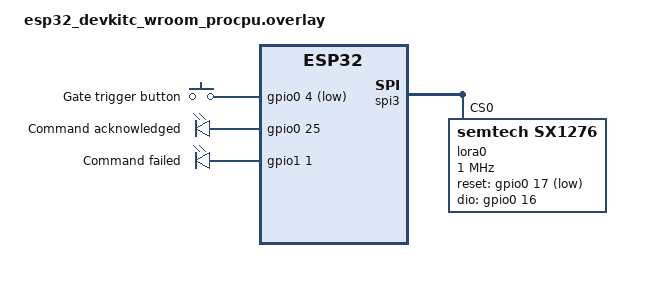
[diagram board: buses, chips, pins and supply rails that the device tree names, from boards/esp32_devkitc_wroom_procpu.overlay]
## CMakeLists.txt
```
# Copyright (c) 2026 Vinicius Pedrosa
# SPDX-License-Identifier: MIT OR Apache-2.0

cmake_minimum_required(VERSION 3.20.0)

set(GATE_LINK_ROOT ${CMAKE_CURRENT_LIST_DIR}/../..)

find_package(Zephyr REQUIRED HINTS $ENV{ZEPHYR_BASE})
project(gate_link_transmitter)

add_subdirectory(${GATE_LINK_ROOT}/common common)

target_sources(app PRIVATE src/main.c)
```

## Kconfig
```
# Copyright (c) 2026 Vinicius Pedrosa
# SPDX-License-Identifier: MIT OR Apache-2.0

mainmenu "Gate Link transmitter"

menu "Gate Link transmitter"

module = GATE_TX
module-str = gate_tx
source "subsys/logging/Kconfig.template.log_config"

config GATE_TX_DEVICE_ID
	int "Transmitter device id"
	default 1
	range 1 2147483647
	help
	  Device id written into bench COMMAND packets.

config GATE_TX_BUTTON_POLL_MS
	int "Button poll interval in milliseconds"
	default 10
	range 1 100
	help
	  Interval used while polling the physical trigger button.

config GATE_TX_BUTTON_DEBOUNCE_MS
	int "Button debounce interval in milliseconds"
	default 40
	range 1 1000
	help
	  Time a button level must remain unchanged before it is treated as a
	  logical press or release.

config GATE_TX_ACK_TIMEOUT_MS
	int "ACK wait timeout in milliseconds"
	default 2000
	range 100 10000
	help
	  Time spent listening for the ACK that matches the command currently in
	  progress before the same command sequence is retransmitted.

	  This must cover the receiver's whole turnaround, which includes its
	  CONFIG_GATE_RX_ACTUATOR_PULSE_MS: the actuator fires before the ACK is
	  sent. Too short a timeout reports failure for commands that succeeded.

config GATE_TX_MAX_RETRIES
	int "Maximum command retransmissions"
	default 3
	range 0 10
	help
	  Number of retransmissions after the initial send when no matching ACK is
	  received. A value of 3 means up to 4 transmissions of the same sequence:
	  the initial send plus 3 retries.

config GATE_TX_SUCCESS_LED_MS
	int "Success LED indication time in milliseconds"
	default 500
	range 1 10000
	help
	  Time the success status output stays active after a matching ACK.

config GATE_TX_ERROR_LED_MS
	int "Error LED indication time in milliseconds"
	default 1200
	range 1 10000
	help
	  Time the error status output stays active after a command fails.

endmenu

rsource "../../common/Kconfig"

source "Kconfig.zephyr"
```

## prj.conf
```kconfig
# Copyright (c) 2026 Vinicius Pedrosa
# SPDX-License-Identifier: MIT OR Apache-2.0

CONFIG_LOG=y
CONFIG_GATE_TX_LOG_LEVEL_INF=y
CONFIG_MAIN_STACK_SIZE=2048

# Button and status LEDs come from devicetree aliases (D005).
CONFIG_GPIO=y

# RFM95W/SX1276 LoRa radio comes from the board overlay lora0 alias.
CONFIG_SPI=y
CONFIG_LORA=y
CONFIG_LORA_LOG_LEVEL_INF=y
CONFIG_GATE_RADIO_LOG_LEVEL_INF=y
```

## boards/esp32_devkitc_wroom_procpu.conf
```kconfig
# Copyright (c) 2026 Vinicius Pedrosa
# SPDX-License-Identifier: MIT OR Apache-2.0

# ESP32 bench hardware has a storage partition used for the monotonic command
# counter. The shared authentication key still comes from a local unversioned
# EXTRA_CONF_FILE.
CONFIG_FLASH=y
CONFIG_FLASH_MAP=y
CONFIG_FLASH_PAGE_LAYOUT=y
CONFIG_NVS=y
CONFIG_GATE_COUNTER_STORE_NVS=y
```

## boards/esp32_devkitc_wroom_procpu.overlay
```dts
/*
 * Copyright (c) 2026 Vinicius Pedrosa
 *
 * SPDX-License-Identifier: MIT OR Apache-2.0
 *
 * Transmitter wiring for ESP32 DevKitC V4 (WROOM-32D) with a HopeRF RFM95W.
 *
 *   RFM95W          ESP32      note
 *   ------          -----      ----
 *   SCK             GPIO18     spi3 / VSPI, board default pinctrl
 *   MISO            GPIO19     spi3 / VSPI, board default pinctrl
 *   MOSI            GPIO23     spi3 / VSPI, board default pinctrl
 *   NSS  (CS)       GPIO5      spi3 hardware chip select, board default pinctrl
 *   RESET           GPIO17     active low on SX1276
 *   DIO0            GPIO16     TxDone / RxDone interrupt
 *   3V3, GND        3V3, GND   3.3 V only - 5 V destroys the module
 *
 *   trigger button  GPIO4      to GND, internal pull-up
 *   success LED     GPIO25     series resistor to GND
 *   error LED       GPIO33     series resistor to GND
 *
 * Pins 0, 2, 12 and 15 are strapping pins and pins 34-39 are input only, so
 * none of them are used for outputs here.
 */

#include <zephyr/dt-bindings/gpio/gpio.h>
#include <zephyr/dt-bindings/input/input-event-codes.h>

/ {
	aliases {
		gate-button = &gate_button;
		gate-status-ok = &gate_status_ok;
		gate-status-error = &gate_status_error;
		lora0 = &lora0;
	};

	/*
	 * The firmware reads this pin directly and debounces it in software
	 * with CONFIG_GATE_TX_BUTTON_DEBOUNCE_MS, because CONFIG_INPUT is not
	 * enabled and the gpio-keys driver is therefore not built. The node
	 * exists for its alias and its gpios property only. Do not add
	 * debounce-interval-ms here: it would be inert and would contradict the
	 * value that actually applies.
	 */
	gate_buttons {
		compatible = "gpio-keys";

		gate_button: gate_button {
			gpios = <&gpio0 4 (GPIO_PULL_UP | GPIO_ACTIVE_LOW)>;
			label = "Gate trigger button";
			zephyr,code = <INPUT_KEY_0>;
		};
	};

	gate_leds {
		compatible = "gpio-leds";

		gate_status_ok: gate_status_ok {
			gpios = <&gpio0 25 GPIO_ACTIVE_HIGH>;
			label = "Command acknowledged";
		};

		gate_status_error: gate_status_error {
			/* ESP32 GPIO33 is controller gpio1 offset 1. */
			gpios = <&gpio1 1 GPIO_ACTIVE_HIGH>;
			label = "Command failed";
		};
	};
};

&spi3 {
	status = "okay";
	/*
	 * No cs-gpios here on purpose. The board's spim3_default pinctrl already
	 * routes the SPI3 hardware chip select to GPIO5 (SPIM3_CSEL_GPIO5), and
	 * spi_esp32_spim.c only keeps NSS asserted across a multi-buffer
	 * transfer when no cs-gpios is declared:
	 *
	 *   hal_trans->cs_keep_active = (!ctx->num_cs_gpios && (...));
	 *
	 * Declaring cs-gpios made that false, so the controller raised NSS after
	 * every single byte. The SX1276 needs NSS low across the whole
	 * address+data pair, so it saw only orphan address bytes and answered
	 * 0x00 to everything, including REG_VERSION.
	 */

	lora0: lora@0 {
		compatible = "semtech,sx1276";
		reg = <0>;
		reset-gpios = <&gpio0 17 GPIO_ACTIVE_LOW>;
		/*
		 * Only DIO0 is required for TX/RX completion. Wire and list
		 * DIO1/DIO2 here as well if a later phase needs them.
		 */
		dio-gpios = <&gpio0 16 (GPIO_PULL_DOWN | GPIO_ACTIVE_HIGH)>;
		/* Conservative for breadboard wiring; raise once validated. */
		spi-max-frequency = <1000000>;
		/* The RFM95W only routes the PA_BOOST output. */
		power-amplifier-output = "pa-boost";
	};
};
```

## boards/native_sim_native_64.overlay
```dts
/*
 * Copyright (c) 2026 Vinicius Pedrosa
 *
 * SPDX-License-Identifier: MIT OR Apache-2.0
 *
 * Host build of the transmitter. The button and status LEDs are backed by the
 * GPIO emulator, so the application can exercise the same devicetree aliases it
 * uses on real hardware (D005) without a board attached.
 *
 * Pin 0 of gpio0 is already taken by the board's own led0 node.
 */

#include <zephyr/dt-bindings/gpio/gpio.h>
#include <zephyr/dt-bindings/input/input-event-codes.h>

/ {
	aliases {
		gate-button = &gate_button;
		gate-status-ok = &gate_status_ok;
		gate-status-error = &gate_status_error;
	};

	gate_buttons {
		compatible = "gpio-keys";
		debounce-interval-ms = <30>;

		gate_button: gate_button {
			gpios = <&gpio0 1 (GPIO_PULL_UP | GPIO_ACTIVE_LOW)>;
			label = "Gate trigger button";
			zephyr,code = <INPUT_KEY_0>;
		};
	};

	gate_leds {
		compatible = "gpio-leds";

		gate_status_ok: gate_status_ok {
			gpios = <&gpio0 2 GPIO_ACTIVE_HIGH>;
			label = "Command acknowledged";
		};

		gate_status_error: gate_status_error {
			gpios = <&gpio0 3 GPIO_ACTIVE_HIGH>;
			label = "Command failed";
		};
	};
};
```

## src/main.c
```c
/*
 * Copyright (c) 2026 Vinicius Pedrosa
 *
 * SPDX-License-Identifier: MIT OR Apache-2.0
 */

#include <errno.h>
#include <stdbool.h>

#include <zephyr/devicetree.h>
#include <zephyr/drivers/gpio.h>
#include <zephyr/kernel.h>
#include <zephyr/logging/log.h>

#include <auth/gate_auth.h>
#include <protocol/gate_protocol.h>
#include <radio/gate_radio.h>
#if IS_ENABLED(CONFIG_GATE_COUNTER_STORE_NVS)
#include <storage/gate_counter_store.h>
#endif

LOG_MODULE_REGISTER(gate_tx, CONFIG_GATE_TX_LOG_LEVEL);

/*
 * Board overlays bind these aliases to GPIO handles. Asserting them now keeps
 * a missing or misnamed overlay a build error instead of a bench surprise.
 */
BUILD_ASSERT(DT_NODE_EXISTS(DT_ALIAS(gate_button)),
	     "board overlay must define the gate-button alias");
BUILD_ASSERT(DT_NODE_EXISTS(DT_ALIAS(gate_status_ok)),
	     "board overlay must define the gate-status-ok alias");
BUILD_ASSERT(DT_NODE_EXISTS(DT_ALIAS(gate_status_error)),
	     "board overlay must define the gate-status-error alias");

/*
 * Authentication and replay resistance are configuration, and a missing
 * configuration is a build error for the same reason a missing alias is: no
 * retry produces a key or a storage partition that the build never bound
 * (D014). Catching it here keeps an unprovisioned image from being flashed and
 * then failing silently in the field.
 *
 * Only builds that can actually reach the radio are held to this. A build with
 * no lora0 alias idles on purpose and needs neither a key nor counters (D012).
 * Only the key length is checkable at build time; gate_auth_key_from_hex()
 * still validates the characters at startup.
 */
#if GATE_RADIO_PRESENT
BUILD_ASSERT(sizeof(CONFIG_GATE_AUTH_KEY_HEX) == GATE_AUTH_KEY_HEX_SIZE + 1u,
	     "CONFIG_GATE_AUTH_KEY_HEX must be exactly 64 hex characters; provision it through "
	     "a local unversioned EXTRA_CONF_FILE, never in the repository");
BUILD_ASSERT(IS_ENABLED(CONFIG_GATE_COUNTER_STORE_NVS),
	     "authenticated builds require CONFIG_GATE_COUNTER_STORE_NVS: without persisted "
	     "counters the transmitter would reuse sequence numbers after a reset (D018)");
#endif

static const struct gpio_dt_spec button = GPIO_DT_SPEC_GET(DT_ALIAS(gate_button), gpios);
static const struct gpio_dt_spec status_ok = GPIO_DT_SPEC_GET(DT_ALIAS(gate_status_ok), gpios);
static const struct gpio_dt_spec status_error =
    GPIO_DT_SPEC_GET(DT_ALIAS(gate_status_error), gpios);

static uint8_t auth_key[GATE_AUTH_KEY_SIZE];

#if IS_ENABLED(CONFIG_GATE_COUNTER_STORE_NVS)
static struct gate_counter_store sequence_store;
#endif

/*
 * Read the button as a logical level. Zephyr 3.7's ESP32 GPIO path returns the
 * physical input level here, so the devicetree active-low flag is applied at
 * this boundary and the rest of the transmitter sees "pressed" as true.
 *
 * A read error is reported to the caller instead of being folded into
 * "released": a button that cannot be read must not look like an idle one.
 */
static int button_read(bool *pressed)
{
	int level = gpio_pin_get_raw(button.port, button.pin);

	if (level < 0) {
		return level;
	}

	if ((button.dt_flags & GPIO_ACTIVE_LOW) != 0) {
		*pressed = (level == 0);
	} else {
		*pressed = (level != 0);
	}

	return 0;
}

static void set_status_outputs(bool ok, bool error)
{
	int ret;

	ret = gpio_pin_set_dt(&status_ok, ok ? 1 : 0);
	if (ret < 0) {
		LOG_ERR("TX success LED set failed: %d", ret);
	}

	ret = gpio_pin_set_dt(&status_error, error ? 1 : 0);
	if (ret < 0) {
		LOG_ERR("TX error LED set failed: %d", ret);
	}
}

static int tx_io_init(void)
{
	int ret;

	if (!gpio_is_ready_dt(&button)) {
		LOG_ERR("TX button GPIO is not ready");
		return -ENODEV;
	}

	if (!gpio_is_ready_dt(&status_ok)) {
		LOG_ERR("TX success LED GPIO is not ready");
		return -ENODEV;
	}

	if (!gpio_is_ready_dt(&status_error)) {
		LOG_ERR("TX error LED GPIO is not ready");
		return -ENODEV;
	}

	ret = gpio_pin_configure_dt(&button, GPIO_INPUT);
	if (ret < 0) {
		LOG_ERR("TX button configure failed: %d", ret);
		return ret;
	}

	ret = gpio_pin_configure_dt(&status_ok, GPIO_OUTPUT_INACTIVE);
	if (ret < 0) {
		LOG_ERR("TX success LED configure failed: %d", ret);
		return ret;
	}

	ret = gpio_pin_configure_dt(&status_error, GPIO_OUTPUT_INACTIVE);
	if (ret < 0) {
		LOG_ERR("TX error LED configure failed: %d", ret);
		return ret;
	}

	return 0;
}

/*
 * Block until the button holds @p wanted across the debounce interval.
 *
 * Read errors keep the loop waiting rather than reporting a state change, so a
 * broken button never fabricates a command. They are logged once per stretch of
 * failures: this loop runs every few milliseconds, and logging every read would
 * bury the console under one repeated line.
 */
static void wait_for_button_state(bool wanted)
{
	bool error_reported = false;

	for (;;) {
		bool state;
		int ret = button_read(&state);

		if (ret < 0) {
			if (!error_reported) {
				LOG_ERR("TX button read failed: %d", ret);
				error_reported = true;
			}
		} else {
			if (error_reported) {
				LOG_INF("TX button read recovered");
				error_reported = false;
			}

			if (state == wanted) {
				k_sleep(K_MSEC(CONFIG_GATE_TX_BUTTON_DEBOUNCE_MS));

				if (button_read(&state) == 0 && state == wanted) {
					return;
				}
			}
		}

		k_sleep(K_MSEC(CONFIG_GATE_TX_BUTTON_POLL_MS));
	}
}

static void indicate_success(void)
{
	set_status_outputs(true, false);
	k_sleep(K_MSEC(CONFIG_GATE_TX_SUCCESS_LED_MS));
	set_status_outputs(false, false);
}

static void indicate_error(void)
{
	set_status_outputs(false, true);
	k_sleep(K_MSEC(CONFIG_GATE_TX_ERROR_LED_MS));
	set_status_outputs(false, false);
}

static int auth_init(void)
{
	enum gate_auth_status status;

	status = gate_auth_key_from_hex(CONFIG_GATE_AUTH_KEY_HEX, auth_key, sizeof(auth_key));
	if (status != GATE_AUTH_OK) {
		LOG_ERR("TX authentication key invalid: %s", gate_auth_status_name(status));
		LOG_ERR("TX requires CONFIG_GATE_AUTH_KEY_HEX with 64 hex characters");
		return -EINVAL;
	}

	LOG_INF("TX authentication enabled tag=%u bytes", GATE_PROTOCOL_AUTH_TAG_SIZE);

	return 0;
}

static int sequence_store_init(uint32_t *sequence)
{
#if IS_ENABLED(CONFIG_GATE_COUNTER_STORE_NVS)
	bool found;
	int ret;

	ret = gate_counter_store_init(&sequence_store);
	if (ret < 0) {
		LOG_ERR("TX sequence store init failed: %d", ret);
		if (ret == -EDEADLK) {
			LOG_ERR("TX sequence store is not a valid NVS area; erase storage during "
				"provisioning");
		}
		return ret;
	}

	ret = gate_counter_store_read(&sequence_store, GATE_COUNTER_STORE_TX_SEQUENCE_ID, sequence,
				      &found);
	if (ret < 0) {
		LOG_ERR("TX sequence store read failed: %d", ret);
		return ret;
	}

	if (!found || *sequence == GATE_SEQUENCE_NONE) {
		*sequence = GATE_SEQUENCE_NONE;
		LOG_INF("TX sequence store is empty");
		return 0;
	}

	LOG_INF("TX sequence store loaded last=%u", *sequence);

	return 0;
#else
	ARG_UNUSED(sequence);
	LOG_ERR("TX replay-resistant sequence storage is not enabled");
	return -ENOTSUP;
#endif
}

static int reserve_next_sequence(uint32_t *sequence)
{
#if IS_ENABLED(CONFIG_GATE_COUNTER_STORE_NVS)
	uint32_t next;
	int ret;

	if (sequence == NULL) {
		return -EINVAL;
	}

	if (*sequence == UINT32_MAX) {
		LOG_ERR("TX sequence exhausted; reprovision before sending another command");
		return -EOVERFLOW;
	}

	next = *sequence + 1u;
	if (next == GATE_SEQUENCE_NONE) {
		return -EOVERFLOW;
	}

	ret = gate_counter_store_write(&sequence_store, GATE_COUNTER_STORE_TX_SEQUENCE_ID, next);
	if (ret < 0) {
		LOG_ERR("TX sequence store write failed seq=%u ret=%d", next, ret);
		return ret;
	}

	*sequence = next;

	return 0;
#else
	ARG_UNUSED(sequence);
	return -ENOTSUP;
#endif
}

static int prepare_command(struct gate_packet *packet, uint32_t *sequence)
{
	enum gate_auth_status auth_status;
	int ret;

	ret = reserve_next_sequence(sequence);
	if (ret < 0) {
		return ret;
	}

	gate_protocol_init_command(packet, CONFIG_GATE_TX_DEVICE_ID, *sequence,
				   GATE_COMMAND_TRIGGER);

	auth_status = gate_auth_sign(packet, auth_key, sizeof(auth_key));
	if (auth_status != GATE_AUTH_OK) {
		LOG_ERR("TX auth sign failed seq=%u status=%s", packet->sequence,
			gate_auth_status_name(auth_status));
		return -EINVAL;
	}

	LOG_INF("TX prepared authenticated command seq=%u", packet->sequence);

	return 0;
}

static int send_command(const struct gate_packet *packet)
{
	uint8_t buffer[GATE_PROTOCOL_PACKET_SIZE];
	size_t written;
	enum gate_protocol_status status;
	int ret;

	status = gate_protocol_encode(packet, buffer, sizeof(buffer), &written);
	if (status != GATE_PROTOCOL_OK) {
		LOG_ERR("TX encode failed seq=%u status=%s", packet->sequence,
			gate_protocol_status_name(status));
		return -EINVAL;
	}

	ret = gate_radio_configure_tx();
	if (ret < 0) {
		LOG_ERR("TX radio config failed: %d", ret);
		return ret;
	}

	LOG_INF("TX sending %s seq=%u device=%u bytes=%u", gate_command_name(packet->command),
		packet->sequence, packet->device_id, (unsigned int)written);

	ret = gate_radio_send(buffer, written);
	if (ret < 0) {
		LOG_ERR("TX send failed seq=%u ret=%d", packet->sequence, ret);
		return ret;
	}

	LOG_INF("TX sent seq=%u", packet->sequence);

	return 0;
}

static int wait_for_ack(const struct gate_packet *command)
{
	int64_t deadline = k_uptime_get() + CONFIG_GATE_TX_ACK_TIMEOUT_MS;
	int ret;

	ret = gate_radio_configure_rx();
	if (ret < 0) {
		LOG_ERR("TX radio RX config failed: %d", ret);
		return -EIO;
	}

	LOG_INF("TX waiting for ACK seq=%u command=%s timeout=%u ms", command->sequence,
		gate_command_name(command->command), CONFIG_GATE_TX_ACK_TIMEOUT_MS);

	for (;;) {
		/* One byte above the packet size, so an oversized frame is
		 * reported instead of silently truncated (see gate_radio.h).
		 */
		uint8_t buffer[GATE_PROTOCOL_PACKET_SIZE + 1u];
		struct gate_radio_rx_result rx;
		struct gate_packet packet;
		enum gate_protocol_status status;
		enum gate_auth_status auth_status;
		int64_t remaining = deadline - k_uptime_get();

		if (remaining <= 0) {
			LOG_WRN("TX ACK timeout seq=%u", command->sequence);
			return -EAGAIN;
		}

		ret = gate_radio_receive(buffer, sizeof(buffer), K_MSEC(remaining), &rx);
		if (ret == -EAGAIN) {
			LOG_WRN("TX ACK timeout seq=%u", command->sequence);
			return ret;
		}

		if (ret == -EMSGSIZE) {
			LOG_WRN("TX ignored oversized frame while waiting seq=%u",
				command->sequence);
			continue;
		}

		if (ret < 0) {
			LOG_ERR("TX ACK receive failed seq=%u ret=%d", command->sequence, ret);
			return -EIO;
		}

		status = gate_protocol_decode(buffer, rx.length, &packet);
		if (status != GATE_PROTOCOL_OK) {
			LOG_WRN("TX ignored invalid packet len=%u rssi=%d snr=%d status=%s",
				(unsigned int)rx.length, rx.rssi, rx.snr,
				gate_protocol_status_name(status));
			continue;
		}

		auth_status = gate_auth_verify(&packet, auth_key, sizeof(auth_key));
		if (auth_status != GATE_AUTH_OK) {
			LOG_WRN("TX ignored unauthenticated packet type=%s seq=%u device=%u "
				"status=%s",
				gate_message_type_name(packet.type), packet.sequence,
				packet.device_id, gate_auth_status_name(auth_status));
			continue;
		}

		if (!gate_protocol_ack_matches(&packet, command->device_id, command->sequence,
					       command->command)) {
			LOG_WRN("TX ignored packet type=%s command=%s seq=%u device=%u while "
				"waiting seq=%u command=%s",
				gate_message_type_name(packet.type),
				gate_command_name(packet.command), packet.sequence,
				packet.device_id, command->sequence,
				gate_command_name(command->command));
			continue;
		}

		LOG_INF("TX ACK received seq=%u rssi=%d snr=%d", packet.sequence, rx.rssi, rx.snr);
		return 0;
	}
}

/*
 * Block until the radio answers again.
 *
 * There is nothing useful a remote trigger can do without a radio, so this
 * retries indefinitely instead of parking the board in a dead idle loop: a
 * module that was unpowered, unwired, or wedged heals without a power cycle.
 * The pacing keeps the console readable and stops it becoming a busy loop.
 */
static void radio_wait_ready(void)
{
	while (gate_radio_init() < 0) {
		LOG_ERR("TX radio unavailable, retrying in %u ms",
			CONFIG_GATE_RADIO_RECOVERY_INTERVAL_MS);
		k_sleep(K_MSEC(CONFIG_GATE_RADIO_RECOVERY_INTERVAL_MS));
	}
}

static int transmit_command_with_retries(const struct gate_packet *packet)
{
	const uint32_t max_retries = CONFIG_GATE_TX_MAX_RETRIES;
	const uint32_t total_attempts = max_retries + 1u;

	for (uint32_t attempt = 1u; attempt <= total_attempts; attempt++) {
		int ret;

		if (attempt == 1u) {
			LOG_INF("TX command attempt %u/%u seq=%u", attempt, total_attempts,
				packet->sequence);
		} else {
			LOG_WRN("TX retry %u/%u seq=%u", attempt - 1u, max_retries,
				packet->sequence);
		}

		/* send_command() already logged the specific failure. */
		ret = send_command(packet);
		if (ret < 0) {
			return ret == -EINVAL ? ret : -EIO;
		}

		ret = wait_for_ack(packet);
		if (ret == 0) {
			LOG_INF("TX command success seq=%u attempts=%u", packet->sequence, attempt);
			return 0;
		}

		if (ret != -EAGAIN) {
			LOG_ERR("TX command aborted seq=%u ret=%d", packet->sequence, ret);
			return ret == -EINVAL ? ret : -EIO;
		}
	}

	LOG_ERR("TX command final failure seq=%u attempts=%u retries=%u", packet->sequence,
		total_attempts, max_retries);

	/* The loop can only fall through after wait_for_ack() timed out. */
	return -EAGAIN;
}

static bool command_error_is_local_radio_failure(int ret)
{
	/* At this boundary, -EAGAIN only means "sent but no ACK arrived". */
	return ret != 0 && ret != -EAGAIN && ret != -EINVAL;
}

static void recover_radio_after_command_error(int ret)
{
	LOG_WRN("TX recovering radio after local command error: %d", ret);
	radio_wait_ready();
	LOG_INF("TX radio recovered after command error");
}

int main(void)
{
	uint32_t sequence = GATE_SEQUENCE_NONE;
	int ret;

	LOG_INF("TX boot");
	LOG_INF("TX protocol version=%u packet=%u bytes command=%s", gate_protocol_version(),
		GATE_PROTOCOL_PACKET_SIZE, gate_command_name(GATE_COMMAND_TRIGGER));

	/*
	 * Unlike a radio failure, this is not retried: an unbindable pin means
	 * the overlay does not match this board, and no retry creates it (D014).
	 */
	ret = tx_io_init();
	if (ret < 0) {
		LOG_ERR("TX I/O init failed: %d", ret);
		return 0;
	}

	if (!gate_radio_is_present()) {
		LOG_WRN("TX has no LoRa radio in this build, idling");
		k_sleep(K_FOREVER);
		return 0;
	}

	ret = auth_init();
	if (ret < 0) {
		return 0;
	}

	ret = sequence_store_init(&sequence);
	if (ret < 0) {
		return 0;
	}

	radio_wait_ready();

	for (;;) {
		struct gate_packet packet;
		int prepare_ret;

		LOG_INF("TX ready, waiting for button");
		wait_for_button_state(true);
		LOG_INF("TX button pressed");

		prepare_ret = prepare_command(&packet, &sequence);
		ret = prepare_ret;
		if (prepare_ret == 0) {
			ret = transmit_command_with_retries(&packet);
		}

		if (ret == 0) {
			indicate_success();
		} else {
			indicate_error();
		}

		/*
		 * Only a command that reached the radio can have failed because
		 * of it. Reserving a sequence fails against NVS, not the SX1276,
		 * so probing the radio there would neither fix anything nor
		 * describe what went wrong (D016).
		 *
		 * Past that point: -EAGAIN means the receiver never answered,
		 * which says nothing about the local radio, and -EINVAL comes
		 * from local packet construction. Everything else is a local
		 * radio failure and recovers now, so a TX module powered down
		 * while idle does not require multiple button presses to heal.
		 */
		if (prepare_ret == 0 && command_error_is_local_radio_failure(ret)) {
			recover_radio_after_command_error(ret);
		}

		LOG_INF("TX waiting for button release");
		wait_for_button_state(false);
		LOG_INF("TX button released");
	}

	return 0;
}
```
